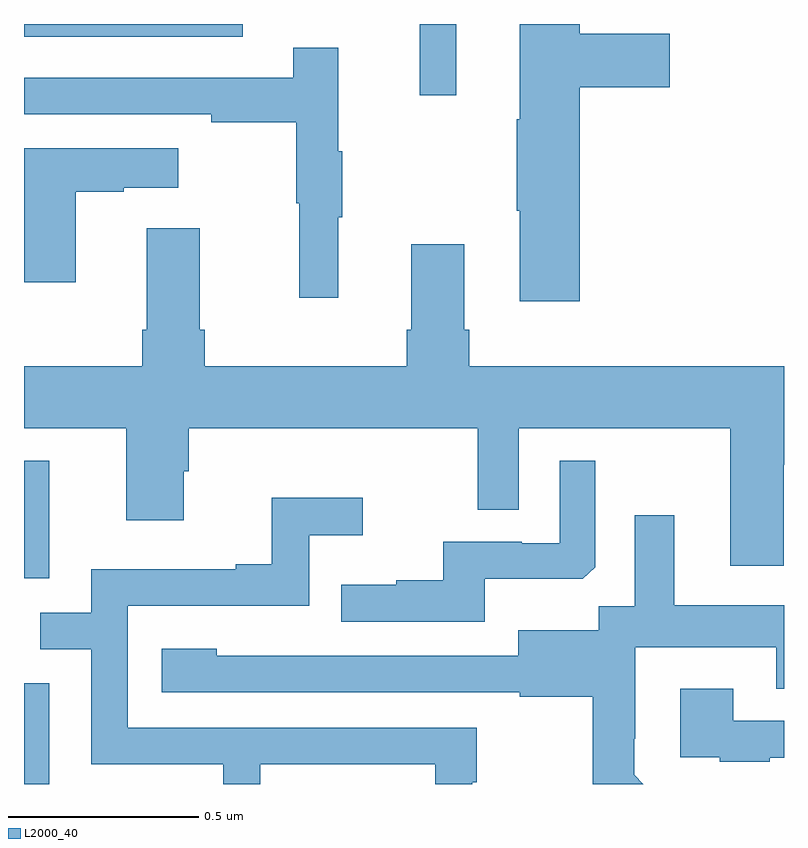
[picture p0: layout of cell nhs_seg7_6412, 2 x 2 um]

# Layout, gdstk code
import gdstk
lib = gdstk.Library(unit=1e-6, precision=1e-09)
def R(c, l, rs):  # rectangles x0, y0, x1, y1
    for r in rs: c.add(gdstk.rectangle(r[:2], r[2:], *l))
def P(c, l, *ps):  # polygons
    for p in ps: c.add(gdstk.Polygon(p, *l))
L2000_40 = (2000, 40)

nhs_seg7_6412 = lib.new_cell('nhs_seg7_6412')
R(nhs_seg7_6412, L2000_40, [(198,1013,198.067,1013.265), (198,1013.541,198.067,1013.851), (199.041,1014.813,199.138,1015), (198,1014.966,198.576,1015)])
P(nhs_seg7_6412, L2000_40, [(199.463,1014.833),(199.699,1014.833),(199.699,1014.975),(199.463,1014.975),(199.463,1015),(199.304,1015),(199.304,1014.749),(199.297,1014.749),(199.297,1014.508),(199.304,1014.508),(199.304,1014.27),(199.463,1014.27)],
  [(198.827,1014.491),(198.838,1014.491),(198.838,1014.665),(198.827,1014.665),(198.827,1014.937),(198.709,1014.937),(198.709,1014.858),(198,1014.858),(198,1014.762),(198.493,1014.762),(198.493,1014.742),(198.717,1014.742),(198.717,1014.528),(198.724,1014.528),(198.724,1014.279),(198.827,1014.279)],
  [(198.136,1014.559),(198.263,1014.559),(198.263,1014.569),(198.406,1014.569),(198.406,1014.673),(198,1014.673),(198,1014.321),(198.136,1014.321)],
  [(199.999,1013.84),(200,1013.84),(200,1014.1),(199.172,1014.1),(199.172,1014.196),(199.159,1014.196),(199.159,1014.421),(199.019,1014.421),(199.019,1014.196),(199.007,1014.196),(199.007,1014.1),(198.476,1014.1),(198.476,1014.196),(198.463,1014.196),(198.463,1014.463),(198.323,1014.463),(198.323,1014.196),(198.311,1014.196),(198.311,1014.1),(198,1014.1),(198,1013.936),(198.269,1013.936),(198.269,1013.694),(198.421,1013.694),(198.421,1013.823),(198.434,1013.823),(198.434,1013.936),(199.194,1013.936),(199.194,1013.722),(199.302,1013.722),(199.302,1013.936),(199.859,1013.936),(199.859,1013.574),(199.999,1013.574)],
  [(199.213,1013.54),(199.471,1013.54),(199.503,1013.571),(199.503,1013.851),(199.41,1013.851),(199.41,1013.634),(199.31,1013.634),(199.31,1013.637),(199.103,1013.637),(199.103,1013.536),(198.979,1013.536),(198.979,1013.524),(198.835,1013.524),(198.835,1013.427),(199.213,1013.427)],
  [(198.622,1013.052),(199.082,1013.052),(199.082,1013),(199.18,1013),(199.18,1013.004),(199.192,1013.004),(199.192,1013.148),(198.273,1013.148),(198.273,1013.469),(198.75,1013.469),(198.75,1013.654),(198.892,1013.654),(198.892,1013.753),(198.652,1013.753),(198.652,1013.578),(198.557,1013.578),(198.557,1013.565),(198.177,1013.565),(198.177,1013.451),(198.043,1013.451),(198.043,1013.355),(198.177,1013.355),(198.177,1013.052),(198.524,1013.052),(198.524,1013),(198.622,1013)],
  [(199.606,1013.024),(199.606,1013.119),(199.608,1013.119),(199.608,1013.36),(199.979,1013.36),(199.979,1013.251),(200,1013.251),(200,1013.47),(199.711,1013.47),(199.711,1013.707),(199.607,1013.707),(199.607,1013.468),(199.512,1013.468),(199.512,1013.404),(199.301,1013.404),(199.301,1013.337),(198.743,1013.337),(198.743,1013.338),(198.507,1013.338),(198.507,1013.356),(198.363,1013.356),(198.363,1013.241),(199.305,1013.241),(199.305,1013.229),(199.497,1013.229),(199.497,1013),(199.63,1013)],
  [(199.963,1013.069),(200,1013.069),(200,1013.166),(199.867,1013.166),(199.867,1013.251),(199.727,1013.251),(199.727,1013.07),(199.831,1013.07),(199.831,1013.058),(199.963,1013.058)])

lib.write_gds('nhs_seg7_6412.gds')
